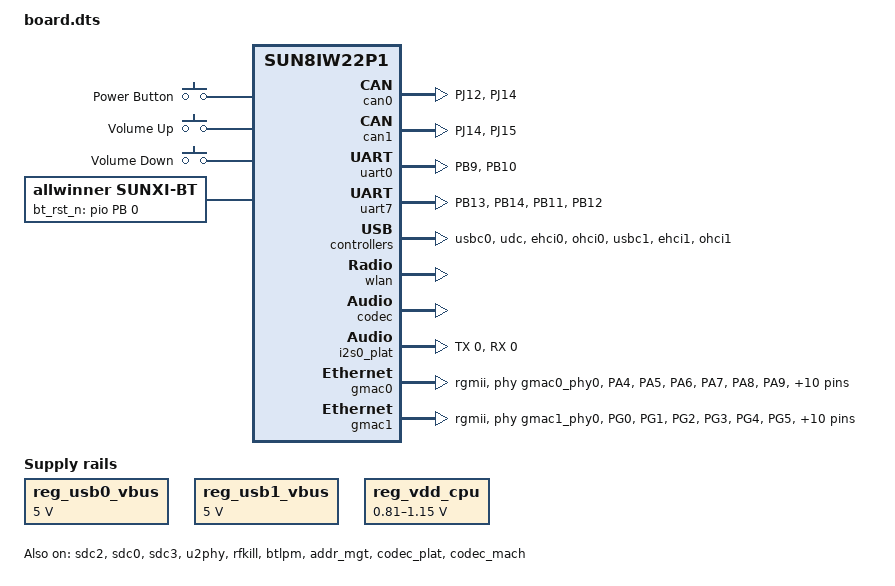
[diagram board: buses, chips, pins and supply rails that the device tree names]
// SPDX-License-Identifier: (GPL-2.0+ or MIT)

/dts-v1/;

#include "sun8iw22p1.dtsi"
#include <dt-bindings/input/input.h>

/{
	board = "t153", "t153-demo";
	compatible = "allwinner,t153", "arm,sun8iw22p1";
	aliases {
	};

	reg_usb0_vbus: usb0-vbus {
		compatible = "regulator-fixed";
		regulator-name = "usb0-vbus";
		regulator-min-microvolt = <5000000>;
		regulator-max-microvolt = <5000000>;
		regulator-enable-ramp-delay = <1000>;
		enable-active-high;
	};

	reg_usb1_vbus: usb1-vbus {
		compatible = "regulator-fixed";
		regulator-name = "usb1-vbus";
		regulator-min-microvolt = <5000000>;
		regulator-max-microvolt = <5000000>;
		regulator-enable-ramp-delay = <1000>;
		enable-active-high;
	};

	reg_vdd_cpu: reg_vdd_cpu {
		compatible = "sunxi-pwm-regulator";
		pwms = <&pwmcs0 4 5000 1>;
		regulator-name = "vdd_cpu";
		regulator-min-microvolt = <810000>;
		regulator-max-microvolt = <1150000>;
		regulator-settling-time-us = <4000>;
		regulator-always-on;
		regulator-boot-on;
		status = "okay";
	};

	reserved-memory {
		rv_sram_reserved: riscvsram0@40000 {
			reg = <0x0 0x00040000 0x0 0x0002BFFF>;
			no-map;
			sleep-data-loss;
		};

		e907_mem_fw: e907_mem_fw@44000000 {
			/* boot0 & uboot0 load elf addr */
			reg = <0x0 0x44000000 0x0 0x00200000>;
		};

		/*
			* The name should be "vdev%dbuffer".
			* Its size should be not less than
			*     RPMSG_BUF_SIZE * (num of buffers in a vring) * 2
			*   = 512 * (num of buffers in a vring) * 2
			*/
		rv_vdev0buffer: vdev0buffer@42100000 {
			compatible = "shared-dma-pool";
			reg = <0x0 0x42100000 0x0 0x40000>;
			no-map;
		};

		/*
			* The name should be "vdev%dvring%d".
			* The size of each should be not less than
			*     PAGE_ALIGN(vring_size(num, align))
			*   = PAGE_ALIGN(16 * num + 6 + 2 * num + (pads for align) + 6 + 8 * num)
			*
			* (Please refer to the vring layout in include/uapi/linux/virtio_ring.h)
			*/
		rv_vdev0vring0: vdev0vring0@42140000 {
			reg = <0x0 0x42140000 0x0 0x2000>;
			no-map;
		};
		rv_vdev0vring1: vdev0vring1@42142000 {
			reg = <0x0 0x42142000 0x0 0x2000>;
			no-map;
		};

		e907_rpbuf_reserved: e907_rpbuf@42144000 {
			compatible = "shared-dma-pool";
			no-map;
			reg = <0x0 0x42144000 0x0 0x80000>;
		};

		e907_share_irq_table: share_irq_table@421c4000 {
			reg = <0x0 0x421c4000 0x0 0x1000>;
			no-map;
		};

		e907_dram_reserved: e907_dram@421c5000 {
			reg = <0x0 0x421c5000 0x0 0x00300000>;
			no-map;
		};
	};

	rpbuf_controller0: rpbuf_controller@0 {
			compatible = "allwinner,rpbuf-controller";
			remoteproc = <&e907_rproc>;
			ctrl_id = <0>;
			memory-region = <&e907_rpbuf_reserved>;
			status = "okay";
	};

	can0 {
		compatible = "allwinner,sun8i-t153-can";
		reg = <0x0 0x0453C800 0x0 0x400>,
			<0x0 0x04538000 0x0 0x4400>,
			<0x0 0x04530000 0x0 0x1000>,
			<0x0 0x04534000 0x0 0x1000>;
		reg-names = "can", "message_ram", "can_top", "can_dma";
		interrupts = <GIC_SPI 36 IRQ_TYPE_LEVEL_HIGH>, <GIC_SPI 35 IRQ_TYPE_LEVEL_HIGH>, <GIC_SPI 37 IRQ_TYPE_LEVEL_HIGH>;
		interrupt-names = "int0", "int_top", "int1";
		clocks = <&ccu CLK_CAN0>, <&ccu CLK_BUS_CAN0>, <&ccu CLK_MBUS_CAN_GATE>;
		clock-names = "can_clk", "can_bus", "can_mbus";
		resets = <&ccu RST_BUS_CAN0>, <&ccu RST_BUS_CAN_SYS>;
		reset-names = "can_rst", "can_sys_rst";
		clock-frequency = <40000000>;
		allwinner,ram-cfg = <0x0 0 0 64 64 64 32 32>;
		pinctrl-0 = <&can0_pins_active>;
		pinctrl-1 = <&can0_pins_sleep>;
		pinctrl-names = "default", "sleep";
		status = "okay";
	};

	can1 {
		compatible = "allwinner,sun8i-t153-can";
		reg = <0x0 0x04541800 0x0 0x400>,
				<0x0 0x0453D000 0x0 0x4400>,
				<0x0 0x04531000 0x0 0x1000>,
				<0x0 0x04535000 0x0 0x1000>;
		reg-names = "can", "message_ram", "can_top", "can_dma";
		interrupts = <GIC_SPI 144 IRQ_TYPE_LEVEL_HIGH>, <GIC_SPI 146 IRQ_TYPE_LEVEL_HIGH>, <GIC_SPI 145 IRQ_TYPE_LEVEL_HIGH>;
		interrupt-names = "int0", "int_top", "int1";
		clocks = <&ccu CLK_CAN1>, <&ccu CLK_BUS_CAN1>, <&ccu CLK_MBUS_CAN_GATE>;
		clock-names = "can_clk", "can_bus", "can_mbus";
		resets = <&ccu RST_BUS_CAN1>, <&ccu RST_BUS_CAN_SYS>;
		reset-names = "can_rst", "can_sys_rst";
		clock-frequency = <40000000>;
		allwinner,ram-cfg = <0x0 0 0 64 64 64 32 32>;
		pinctrl-0 = <&can1_pins_active>;
		pinctrl-1 = <&can1_pins_sleep>;
		pinctrl-names = "default", "sleep";
		status = "okay";
	};

};

&pio {
           sdc3_pins_a: sdc3@0 {
                                pins = "PE0", "PE5";
                                function = "sdc3";
                                drive-strength = <40>;
                                bias-pull-up;
                        };

                        sdc3_pins_c: sdc3@2 {
                                pins = "PE6", "PE7", "PE8", "PE9";
                                function = "sdc3";
                                drive-strength = <30>;
                                bias-pull-up;
                        };
	uart0_pins_active: uart0_pins@0 {
		pins = "PB9", "PB10";
		function = "uart0";
	};

	uart0_pins_sleep: uart0_pins@1 {
		pins = "PB9", "PB10";
		function = "io_disabled";
	};

	uart1_pins_active: uart1_pins@0 {
		pins = "PG6", "PG7", "PG8", "PG9";
		function = "uart1";
		drive-strength = <10>;
		bias-pull-up;
	};

	uart1_pins_sleep: uart1_pins@1 {
		pins = "PG6", "PG7", "PG8", "PG9";
		function = "gpio_in";
	};

	uart2_pins_active: uart2_pins@0 {
		pins = "PD2", "PD3", "PD1", "PD0";
		function = "uart2";
	};

	uart2_pins_sleep: uart2_pins@1 {
		pins = "PD2", "PD3", "PD1", "PD0";
		function = "io_disabled";
	};

	uart3_pins_active: uart3_pins@0 {
		pins = "PD14", "PD15", "PD16", "PD17";
		function = "uart3";
	};

	uart3_pins_sleep: uart3_pins@1 {
		pins = "PD14", "PD15", "PD16", "PD17";
		function = "io_disabled";
	};

	uart4_pins_active: uart4_pins@0 {
		pins = "PD6", "PD7", "PD5", "PD4";
		function = "uart4";
	};

	uart4_pins_sleep: uart4_pins@1 {
		pins = "PD6", "PD7", "PD5", "PD4";
		function = "io_disabled";
	};

	uart5_pins_active: uart5_pins@0 {
		pins = "PC9", "PC10", "PC11", "PC8";
		function = "uart5";
	};

	uart5_pins_sleep: uart5_pins@1 {
		pins = "PC9", "PC10", "PC11", "PC8";
		function = "io_disabled";
	};

	uart6_pins_active: uart6_pins@0 {
		pins = "PA14", "PA15", "PE5", "PE6";
		function = "uart6";
	};

	uart6_pins_sleep: uart6_pins@1 {
		pins = "PA14", "PA15", "PE5", "PE6";
		function = "io_disabled";
	};

	uart7_pins_active: uart7_pins@0 {
		pins = "PB13", "PB14", "PB11", "PB12";
		function = "uart7";
                drive-strength = <10>;
                bias-pull-up;

	};

	uart7_pins_sleep: uart7_pins@1 {
		pins = "PB13", "PB14", "PB11", "PB12";
		function = "io_disabled";
	};

	uart8_pins_active: uart8_pins@0 {
		pins = "PD10", "PD11", "PD12", "PD13";
		function = "uart8";
	};

	uart8_pins_sleep: uart8_pins@1 {
		pins = "PD10", "PD11", "PD12", "PD13";
		function = "io_disabled";
	};

	uart9_pins_active: uart9_pins@0 {
		pins = "PD0", "PD1", "PD2", "PD3";
		function = "uart9";
	};

	uart9_pins_sleep: uart9_pins@1 {
		pins = "PD0", "PD1", "PD2", "PD3";
		function = "io_disabled";
	};

	can0_pins_active: can0_pins@0{
		pins = "PJ12", "PJ14";
		function = "can0";
		drive-strength = <20>;
	};

	can0_pins_sleep: can0_pins@1{
		pins = "PJ12", "PJ14";
		function = "io_disabled";
		bias-disable;
	};

	can1_pins_active: can1_pins@0{
		pins = "PJ14", "PJ15";
		function = "can1";
		drive-strength = <20>;
	};

	can1_pins_sleep: can1_pins@1{
		pins = "PJ14", "PJ15";
		function = "io_disabled";
		bias-disable;
	};

	spi0_pins_default: spi0@0 {
		pins = "PC2", "PC3"; /* mosi, miso */
		function = "spi0";
		drive-strength = <20>;
	};

	spi0_pins_cs: spi0@1 {
		pins = "PC1", "PC4", "PC5"; /* cs, wp, hold */
		function = "spi0";
		drive-strength = <20>;
		bias-pull-up;
	};

	spi0_pins_clk: spi0@2 {
		pins = "PC0"; /* clk */
		function = "spi0";
		drive-strength = <40>;
	};

	spi0_pins_sleep: spi0@3 {
		pins = "PC0", "PC1", "PC2", "PC3", "PC4", "PC5";
		function = "gpio_in";
		drive-strength = <10>;
	};
	twi2_pins_default: twi2@0 {
		pins = "PB2", "PB3";
		function = "twi2";
		drive-strength = <10>;
		bias-pull-up;
	};

	twi2_pins_sleep: twi2@1 {
		pins = "PB2", "PB3";
		function = "gpio_in";
	};

	twi4_pins_default: twi4@0 {
		pins = "PB13", "PB14";
		function = "twi4";
		drive-strength = <10>;
		bias-pull-up;
	};

	twi4_pins_sleep: twi4@1 {
		pins = "PB13", "PB14";
		function = "gpio_in";
	};

	pwmcs0_0_pins_active: pwmcs0_0@0 {
		pins = "PB8";
		function = "pwm0_0";
		drive-strength = <20>;
	};

	pwmcs0_0_pins_sleep: pwmcs0_0@1 {
		pins = "PB8";
		function = "gpio_in";
		bias-pull-down;
	};

	pwmcs0_4_pins_active: pwmcs0_4@0 {
		pins = "PB13";
		function = "pwm0_4";
		drive-strength = <20>;
	};

	pwmcs0_4_pins_sleep: pwmcs0_4@1 {
		pins = "PB13";
		function = "gpio_in";
		bias-pull-down;
	};

	gpadc0_pins_default: gpadc0@0 {
		pins = "PA4", "PA5", "PA6", "PA7", "PA8", "PA9", "PA10", "PA11", "PA12", "PA13";
		function = "gpadc0";
	};

	gpadc0_pins_sleep: gpadc0@1 {
		pins = "PA4", "PA5", "PA6", "PA7", "PA8", "PA9", "PA10", "PA11", "PA12", "PA13";
		function = "gpio_in";
	};

	gpadc1_pins_default: gpadc1@0 {
		pins = "PA14","PA15";
		function = "gpadc1";
	};

	gpadc1_pins_sleep: gpadc1@1 {
		pins = "PA14", "PA15";
		function = "gpio_in";
	};

	irrx0_pins_default: irrx0@0 {
		pins = "PJ12";
		function = "ir0";
	};

	irrx0_pins_sleep: irrx0@1 {
		pins = "PJ12";
		function = "gpio_in";
	};

	irrx1_pins_default: irrx1@0 {
		pins = "PJ13";
		function = "ir1";
	};

	irrx1_pins_sleep: irrx1@1 {
		pins = "PJ13";
		function = "gpio_in";
	};

	irrx2_pins_default: irrx2@0 {
		pins = "PJ14";
		function = "ir2";
	};

	irrx2_pins_sleep: irrx2@1 {
		pins = "PJ14";
		function = "gpio_in";
	};

	irrx3_pins_default: irrx3@0 {
		pins = "PJ15";
		function = "ir3";
	};

	irrx3_pins_sleep: irrx3@1 {
		pins = "PJ15";
		function = "gpio_in";
	};

	irtx0_pins_default: irtx@0 {
		pins = "PJ9";
		function = "ir";
	};

	irtx0_pins_sleep: irtx@1 {
		pins = "PJ9";
		function = "gpio_in";
	};

	dmic_pins_a: dmic@0 {
		/* DMIC_PIN: CLK, DATA0, DATA1, DATA2 */
		pins = "PF2", "PF3", "PF4", "PF5";
		function = "dmic";
		drive-strength = <10>;
		bias-disable;
	};

	dmic_pins_b: dmic@1 {
		pins = "PF2", "PF3", "PF4", "PF5";
		function = "io_disabled";
		drive-strength = <10>;
		bias-disable;
	};

	ledc_pins_default: ledc@0 {
		pins = "PJ8";
		function = "ledc";
		drive-strength = <20>;
	};

	ledc_pins_sleep: ledc@1 {
		pins = "PJ8";
		function = "gpio_in";
	};

        gmac0_pins_default: gmac0@0 {
                pins = "PA4","PA5","PA6","PA7","PA8","PA9","PA10","PA11","PA12","PA13",
				"PA14","PA15","PA16","PA17","PA18","PA19";
                function = "rgmii0";
                drive-strength = <40>;
                bias-pull-up;
        };

        gmac0_pins_sleep: gmac0@1 {
                pins = "PA4","PA5","PA6","PA7","PA8","PA9","PA10","PA11","PA12","PA13",
				"PA14","PA15","PA16","PA17","PA18","PA19";
                function = "io_disabled";
                bias-disable;
        };
	gmac1_pins_default: gmac1@0 {
		pins = "PG0", "PG1", "PG2", "PG3", "PG4", "PG5", "PG6", "PG7",
			"PG8", "PG9", "PG10", "PG11", "PG12", "PG13", "PG14", "PG15";
		function = "rgmii1";
		drive-strength = <40>;
		bias-pull-up;
	};

	gmac1_pins_sleep: gmac1@1 {
		pins = "PG0", "PG1", "PG2", "PG3", "PG4", "PG5", "PG6", "PG7",
			"PG8", "PG9", "PG10", "PG11", "PG12", "PG13", "PG14", "PG15";
		function = "io_disabled";
		bias-disable;
	};

	rtp_pins_default: rtp@0 {
		pins = "PA0", "PA1", "PA2", "PA3";
		function = "tp";
	};

	rtp_pins_sleep: rtp@1 {
		pins = "PA0", "PA1", "PA2", "PA3";
		function = "gpio_in";
	};

	spi2_pins_default: spi2@0 {
		pins = "PE2", "PE3", "PE4";
		function = "spi2";
		drive-strength = <10>;
	};

	spi2_pins_cs: spi2@1 {
		pins = "PE7";
		function = "spi2";
		drive-strength = <10>;
		bias-pull-up;
	};

	spi2_pins_sleep: spi2@2 {
		pins = "PE2", "PE3", "PE4", "PE7";
		function = "io_disabled";
		bias-disable;
	};

};
&uart0 {
	pinctrl-names = "default", "sleep";
	pinctrl-0 = <&uart0_pins_active>;
	pinctrl-1 = <&uart0_pins_sleep>;
	status = "okay";
};

&uart1 {
	pinctrl-names = "default", "sleep";
	pinctrl-0 = <&uart1_pins_active>;
	pinctrl-1 = <&uart1_pins_sleep>;
	status = "disabled";
};

&uart2 {
	pinctrl-names = "default", "sleep";
	pinctrl-0 = <&uart2_pins_active>;
	pinctrl-1 = <&uart2_pins_sleep>;
	status = "disabled";
};

&uart3 {
	pinctrl-names = "default", "sleep";
	pinctrl-0 = <&uart3_pins_active>;
	pinctrl-1 = <&uart3_pins_sleep>;
	status = "disabled";
};

&uart4 {
	pinctrl-names = "default", "sleep";
	pinctrl-0 = <&uart4_pins_active>;
	pinctrl-1 = <&uart4_pins_sleep>;
	status = "disabled";
};

&uart5 {
	pinctrl-names = "default", "sleep";
	pinctrl-0 = <&uart5_pins_active>;
	pinctrl-1 = <&uart5_pins_sleep>;
	status = "disabled";
};

&uart6 {
	pinctrl-names = "default", "sleep";
	pinctrl-0 = <&uart6_pins_active>;
	pinctrl-1 = <&uart6_pins_sleep>;
	status = "disabled";
};

&uart7 {
	pinctrl-names = "default", "sleep";
	pinctrl-0 = <&uart7_pins_active>;
	pinctrl-1 = <&uart7_pins_sleep>;
	uart-has-rtscts;
	status = "okay";
};

&uart8 {
	pinctrl-names = "default", "sleep";
	pinctrl-0 = <&uart8_pins_active>;
	pinctrl-1 = <&uart8_pins_sleep>;
	status = "disabled";
};

&uart9 {
	pinctrl-names = "default", "sleep";
	pinctrl-0 = <&uart9_pins_active>;
	pinctrl-1 = <&uart9_pins_sleep>;
	status = "disabled";
};

&soc {
	e907_rproc: e907_rproc@1a00000 {
		mboxes = <&msgbox 0>, <&msgbox 2>;
		mbox-names = "arm-kick", "arm-standby";
		memory-region = <&rv_vdev0buffer>, <&rv_vdev0vring0>, <&rv_vdev0vring1>, <&e907_dram_reserved>;
		fw-region = <&e907_mem_fw>;
		fw-partitions = "riscv0", "riscv0-r";
		fw-partition-sectors = <2048>;
		memory-mappings =
			/* < DA      len        PA >	*/
			/* SRAM A2 */
			< 0x40000    0x2BFFF    0x40000 >,
			/* SHARED SRAM */
			< 0x1000000  0x7ffff    0x1000000 >,
			/* DRAM SPACE1 */
			< 0x40000000 0x3f000000 0x40000000>,
			/* DRAM SPACE2 */
			< 0x80000000 0x3f000000 0x80000000>,
			/* DRAM SPACE3 */
			< 0xC0000000 0x3f000000 0xC0000000>;
		standby-ctrl-en = <0x1>;
		standby-record-reg = <0x07090114>;
		share-irq = "e907";
		//auto-boot;
		status = "okay";
		rproc_wdt: rproc_wdt@0 {
			timeout_ms = <6000>;
			try_times = <3>;
			reset_type = <0x2>;
			status="okay";
		};
	};

	gpio-keys {
		compatible = "gpio-keys";
		status = "okay";

		power {
			label = "Power Button";
			linux,code = <KEY_POWER>;
			debounce-interval = <20>;
			//gpios = <&rtc_pio PW 1 GPIO_ACTIVE_HIGH>;
		};

		volume-up {
			label = "Volume Up";
			linux,code = <KEY_VOLUMEUP>;
			debounce-interval = <20>;
			//gpios = <&rtc_pio PW 2 GPIO_ACTIVE_HIGH>;
		};

		volume-down {
			label = "Volume Down";
			linux,code = <KEY_VOLUMEDOWN>;
			debounce-interval = <20>;
			//gpios = <&rtc_pio PW 3 GPIO_ACTIVE_HIGH>;
		};
	};

	auto_print@54321 {
		reg = <0x0 0x54321 0x0 0x0>;
		device_type = "auto_print";
		status = "okay";
	};

	mailbox_test: mailbox_test@0 {
		compatible = "core0-mailbox-test";
		mboxes = <&msgbox_core0 7>;
		mbox-names = "tx|rx0";
		status = "okay";
	};
};

&spi0 {
	pinctrl-0 = <&spi0_pins_default &spi0_pins_cs &spi0_pins_clk>;
	pinctrl-1 = <&spi0_pins_sleep>;
	pinctrl-names = "default", "sleep";
	sunxi,spi-bus-mode = <SUNXI_SPI_BUS_NAND>;
	sunxi,spi-cs-mode = <SUNXI_SPI_CS_SOFT>;
	status = "disabled";

	spi-nand@0 {
			compatible = "spi-nand";
			spi-max-frequency=<100000000>;
			reg = <0x0>;
			spi-rx-bus-width=<0x04>;
			spi-tx-bus-width=<0x04>;
			status="disabled";
	};
};

&sdc2 {
	non-removable;
	bus-width = <8>;
	mmc-ddr-1_8v;
	mmc-hs200-1_8v;
	mmc-hs400-1_8v;
	no-sdio;
	no-sd;
	ctl-spec-caps = <0x328>;
	cap-mmc-highspeed;
	sunxi-power-save-mode;
	sunxi-dis-signal-vol-sw;
	mmc-bootpart-noacc;
	/*cap-hsq;*/
	cqe-on;
	ctl-cmdq-md = <0x2>;
	/* b2c-ecc-on; */
	/* cqe-ecc-on; */
	max-frequency = <150000000>;
	/*vmmc-supply = <&reg_cldo3>;*/
	/*emmc io vol 3.3v*/
	/*vqmmc-supply = <&reg_aldo1>;*/
	/*emmc io vol 1.8v*/
	/*vqmmc-supply = <&reg_cldo1>;*/
	status = "okay";
};

&sdc0 {
	bus-width = <4>;
	cd-gpios = <&pio PF 6 (GPIO_ACTIVE_LOW | GPIO_PULL_UP)>;
	/*non-removable;*/
	/*broken-cd;*/
	/*cd-inverted*/
	/*data3-detect;*/
	/*card-pwr-gpios = <&pio PH 14 1 1 2 0xffffffff>;*/
	cd-used-24M;
	cd-set-debounce = <0x1>;
	cap-sd-highspeed;
	sd-uhs-sdr50;
	sd-uhs-ddr50;
	sd-uhs-sdr104;
	no-sdio;
	no-mmc;
	/* b2c-ecc-on; */
	sunxi-power-save-mode;
	/*sunxi-dis-signal-vol-sw;*/
	sunxi-signal-vol-sw-without-pmu;
	max-frequency = <150000000>;
	ctl-spec-caps = <0x428>;
	/*vmmc-supply = <&reg_cldo3>;*/
	/*vqmmc33sw-supply = <&reg_cldo3>;*/
	/*vdmmc33sw-supply = <&reg_cldo3>;*/
	/*vqmmc18sw-supply = <&reg_aldo4>;*/
	/*vdmmc18sw-supply = <&reg_aldo4>;*/
	status = "okay";
};
&sdc3 {
        bus-width = <4>;
        no-mmc;
        no-sd;
        cap-sd-highspeed;
        /*sd-uhs-sdr12
        sd-uhs-sdr25;
        sd-uhs-sdr50;
        sd-uhs-ddr50;
        sd-uhs-sdr104;*/
        /*sunxi-power-save-mode;*/
        sunxi-dis-signal-vol-sw;
        cap-sdio-irq;
        keep-power-in-suspend;
        ignore-pm-notify;
        max-frequency = <50000000>;
        ctl-spec-caps = <0x428>;
        status = "okay";
};
#if 0
&sdc3 {
        pinctrl-names = "default";
        pinctrl-0 = <&sdc3_pins_a &sdc3_pins_c>;
	bus-width = <1>;
	no-mmc;
	no-sd;
	cap-sd-highspeed;
	/*sd-uhs-sdr12;*/
	/*sd-uhs-sdr25;*/
	/*sd-uhs-sdr50;*/
	/*sd-uhs-ddr50;*/
	/*sd-uhs-sdr104;*/
	sunxi-power-save-mode;
	sunxi-dis-signal-vol-sw;
	/*cap-sdio-irq;*/
	/*keep-power-in-suspend;*/
	ignore-pm-notify;
	max-frequency = <25000000>;
	/*ctl-spec-caps = <0x428>;*/
	status = "okay";
};
#endif

/*
 *usb_port_type: usb mode. 0-device, 1-host, 2-otg.
 *usb_detect_type: usb hotplug detect mode. 0-none, 1-vbus/id detect, 2-id/dpdm detect.
 *usb_detect_mode: 0-thread scan, 1-id gpio interrupt.
 *usb_id_gpio: gpio for id detect.
 *usb_det_vbus_gpio: gpio for id detect. gpio or "axp_ctrl";
 *usb_wakeup_suspend:0-SUPER_STANDBY, 1-USB_STANDBY.
 */
&usbc0 {
        device_type = "usbc0";
        usb_port_type = <0x0>;
        usb_detect_type = <0x0>;
        usb_detect_mode = <0>;
        usb_id_gpio = <>;
        enable-active-high;
        usb_det_vbus_gpio = <>;
        usb_wakeup_suspend = <0>;
        usb_serial_unique = <0>;
        usb_serial_number = "20080411";
        rndis_wceis = <1>;
        status = "okay";
};

&u2phy {
	status = "okay";
};

&udc {
	status = "okay";
};

&ehci0 {
	drvvbus-supply = <&reg_usb0_vbus>;
	status = "okay";
};

&ohci0 {
	drvvbus-supply = <&reg_usb0_vbus>;
	status = "okay";
};

&usbc1 {
	device_type = "usbc1";
	usb_regulator_io = "nocare";
	status = "okay";
};

&ehci1 {
	drvvbus-supply = <&reg_usb1_vbus>;
	status = "okay";
};

&ohci1 {
	drvvbus-supply = <&reg_usb1_vbus>;
	status = "okay";
};

&twi2 {
	clock-frequency = <400000>;
	pinctrl-0 = <&twi2_pins_default>;
	pinctrl-1 = <&twi2_pins_sleep>;
	pinctrl-names = "default", "sleep";
	/* For stability and backwards compatibility, we recommend setting 'twi_drv_used' to 1 */
	twi_drv_used = <1>;
	/* twi-supply = <&reg_cldo3>; */
	status = "disabled";

	pcf8563: rtc@51 {
		compatible = "nxp,pcf8563";
		reg = <0x51>;
	};
};

&twi4 {
	clock-frequency = <400000>;
	pinctrl-0 = <&twi4_pins_default>;
	pinctrl-1 = <&twi4_pins_sleep>;
	pinctrl-names = "default", "sleep";
	/* For stability and backwards compatibility, we recommend setting 'twi_drv_used' to 1 */
	twi_drv_used = <1>;
	no_suspend = <1>;
	/* twi-supply = <&reg_cldo3>; */
	status = "disabled";
};

&pwmcs0_0 {
	pinctrl-names = "active", "sleep";
	pinctrl-0 = <&pwmcs0_0_pins_active>;
	pinctrl-1 = <&pwmcs0_0_pins_sleep>;
	status = "disabled";
};

&pwmcs0_4 {
	pinctrl-names = "active", "sleep";
	pinctrl-0 = <&pwmcs0_4_pins_active>;
	pinctrl-1 = <&pwmcs0_4_pins_sleep>;
	status = "disabled";
};

&cpu0 {
	cpu-supply = <&reg_vdd_cpu>;
};

&gpadc0 {
	pinctrl-names = "default", "sleep";
	pinctrl-0 = <&gpadc0_pins_default>;
	pinctrl-1 = <&gpadc0_pins_sleep>;
	channel_num = <10>;
	channel_select = <3>;
	channel_data_select = <0>;
	channel_compare_select = <0>;
	channel_cld_select = <3>;
	channel_chd_select = <0>;
	channel0_compare_lowdata = <1700000>;
	channel0_compare_higdata = <1200000>;
	channel1_compare_lowdata = <460000>;
	channel1_compare_higdata = <1200000>;
	status = "disabled";
};

&gpadc1 {
	channel_num = <10>;
	pinctrl-names = "default", "sleep";
	pinctrl-0 = <&gpadc1_pins_default>;
	pinctrl-1 = <&gpadc1_pins_sleep>;
	channel_select = <0x2>;
	channel_data_select = <0>;
	channel_compare_select = <0x2>;
	channel_cld_select = <0x2>;
	channel_chd_select = <0>;
	channel0_compare_lowdata = <1700000>;
	channel0_compare_higdata = <1200000>;
	channel1_compare_lowdata = <900000>;
	channel1_compare_higdata = <0>;
	status = "disabled";
	keyadc1 {
		key_cnt = <5>;
		key0_vol = <210>;
		key0_val = <115>;
		key1_vol = <410>;
		key1_val = <114>;
		key2_vol = <590>;
		key2_val = <139>;
		key3_vol = <750>;
		key3_val = <28>;
		key4_vol = <880>;
		key4_val = <102>;
	};
};

&gpadc2 {
	channel_num = <4>;
	only_used_for_gpadc;
	channel_select = <3>;
	channel_data_select = <0>;
	channel_compare_select = <0>;
	channel_cld_select = <3>;
	channel_chd_select = <0>;
	channel0_compare_lowdata = <1700000>;
	channel0_compare_higdata = <1200000>;
	channel1_compare_lowdata = <460000>;
	channel1_compare_higdata = <1200000>;
	status = "disabled";
};

&gpadc3 {
	channel_num = <2>;
	channel_select = <3>;
	channel_data_select = <0>;
	channel_compare_select = <0>;
	channel_cld_select = <3>;
	channel_chd_select = <0>;
	channel0_compare_lowdata = <1700000>;
	channel0_compare_higdata = <1200000>;
	channel1_compare_lowdata = <460000>;
	channel1_compare_higdata = <1200000>;
	status = "disabled";
};

&rfkill {
	compatible = "allwinner,sunxi-rfkill";
	chip_en;
	power_en;
	pinctrl-0;
	pinctrl-names;
	status = "okay";

	/* wlan session */
	wlan {
		compatible    = "allwinner,sunxi-wlan";
		wlan_busnum   = <0x3>;
		wlan_regon    = <&pio PB 5 GPIO_ACTIVE_HIGH>;
		wlan_hostwake = <&pio PB 1 GPIO_ACTIVE_HIGH>;
		wakeup-source;
		regulator-boot-on;
		regulator-always-on;
	};

	/* bt session */
	bt {
		compatible    = "allwinner,sunxi-bt";
		bt_rst_n      = <&pio PB 0 GPIO_ACTIVE_HIGH>;
		status        = "okay";
	};

};

&btlpm {
	compatible  = "allwinner,sunxi-btlpm";
	uart_index  = <0x7>;
	bt_wake     = <&pio PB 6 GPIO_ACTIVE_HIGH>;
	bt_hostwake = <&pio PB 4 GPIO_ACTIVE_HIGH>;
	wakeup-source; 
	status      = "okay";
};

&addr_mgt {
	compatible = "allwinner,sunxi-addr_mgt";
	type_addr_wifi = <0x0>;
	type_addr_bt   = <0x0>;
	type_addr_eth  = <0x0>;
	status = "okay";
};

&irrx0 {
	pinctrl-names = "default", "sleep";
	pinctrl-0 = <&irrx0_pins_default>;
	pinctrl-1 = <&irrx0_pins_sleep>;
	status = "disabled";
};

&irrx1 {
	pinctrl-names = "default", "sleep";
	pinctrl-0 = <&irrx1_pins_default>;
	pinctrl-1 = <&irrx1_pins_sleep>;
	status = "disabled";
};

&irrx2 {
	pinctrl-names = "default", "sleep";
	pinctrl-0 = <&irrx2_pins_default>;
	pinctrl-1 = <&irrx2_pins_sleep>;
	status = "disabled";
};

&irrx3 {
	pinctrl-names = "default", "sleep";
	pinctrl-0 = <&irrx3_pins_default>;
	pinctrl-1 = <&irrx3_pins_sleep>;
	status = "disabled";
};

&irtx0 {
	pinctrl-names = "default", "sleep";
	pinctrl-0 = <&irtx0_pins_default>;
	pinctrl-1 = <&irtx0_pins_sleep>;
	status = "disabled";
};

&ledc  {
	pinctrl-names = "default", "sleep";
	pinctrl-0 = <&ledc_pins_default>;
	pinctrl-1 = <&ledc_pins_sleep>;
	led_count = <32>;
	output_mode = "GRB";
	reset_ns = <84>;
	t1h_ns = <800>;
	t1l_ns = <320>;
	t0h_ns = <300>;
	t0l_ns = <800>;
	wait_time0_ns = <84>;
	wait_time1_ns = <84>;
	wait_data_time_ns = <600000>;
	status = "disabled";
};

/* audio dirver module -> audio codec */
&codec {
	tx-hub-en;

	dac-vol		= <63>;		/* default value:63 range:0->63 */
	dacl-vol	= <160>;	/* default value:160 range:0->255 */
	lineout-gain	= <31>;		/* default value:31 range:0->31 */

	pa-pin-max	= <1>;
	pa-pin-0	= <>;
	pa-pin-level-0	= <1>;
	pa-pin-msleep-0	= <0>;

	status = "okay";
};

&codec_plat {
	status = "okay";
};

&codec_mach {
	status = "okay";
	soundcard-mach,cpu {
		sound-dai = <&codec_plat>;
	};
	soundcard-mach,codec {
		sound-dai = <&codec>;
	};
};

/* audio dirver module -> owa */
&owa_plat {
	/* pinctrl-used; */
	/* pinctrl-names	= "default","sleep"; */
	/* pinctrl-0	= <&owa_pins_a>; */
	/* pinctrl-1	= <&owa_pins_b>; */
	tx-hub-en;

	status		= "disabled";
};

&owa_mach {
	status		= "disabled";
	soundcard-mach,cpu {
		sound-dai = <&owa_plat>;
	};
	soundcard-mach,codec {
	};
};

/* audio dirver module -> DMIC */
&dmic_plat {
	rx-chmap	= <0x76543210>;
	data-vol	= <0xB0>;
	rxdelaytime	= <0>;
	pinctrl-used;
	pinctrl-names	= "default","sleep";
	pinctrl-0	= <&dmic_pins_a>;
	pinctrl-1	= <&dmic_pins_b>;
	rx-sync-en;
	status		= "disabled";
};

&dmic_mach {
	status		= "disabled";
	soundcard-mach,cpu {
		sound-dai = <&dmic_plat>;
	};
	soundcard-mach,codec {
	};
};

/* audio dirver module -> I2S/PCM */
&i2s0_plat {
	tdm-num		= <0>;
	tx-pin		= <0>;
	rx-pin		= <0>;
	/* pinctrl-used; */
	/* pinctrl-names	= "default","sleep"; */
	/*pinctrl-0	= <&i2s0_pins_a &i2s0_pins_c>; */
	/* pinctrl-1	= <&i2s0_pins_b &i2s0_pins_d>; */
	tx-hub-en;
	rx-sync-en;
	status		= "okay";
};

&i2s0_mach {
	soundcard-mach,format		= "i2s";
	soundcard-mach,frame-master	= <&i2s0_cpu>;
	soundcard-mach,bitclock-master	= <&i2s0_cpu>;
	/* soundcard-mach,frame-inversion; */
	/* soundcard-mach,bitclock-inversion; */
	soundcard-mach,slot-num		= <2>;
	soundcard-mach,slot-width	= <32>;
	soundcard-mach,capture-only;
	status		= "disabled";
	i2s0_cpu: soundcard-mach,cpu {
		sound-dai = <&i2s0_plat>;
		/* note: pll freq = 24.576M or 22.5792M * pll-fs */
		soundcard-mach,pll-fs	= <1>;
		/* note:
		 * mclk freq = mclk-fs * 12.288M or 11.2896M	(when mclk-fp ture)
		 * mclk freq = mclk-fs * pcm rate		(when mclk-fp false)
		 */
		soundcard-mach,mclk-fs	= <1>;
		soundcard-mach,mclk-fp;
	};
	i2s0_codec: soundcard-mach,codec {
		soundcard-mach,pll-fs   = <1>;
	};
};

&i2s1_plat {
	tdm-num		= <1>;
	tx-pin		= <0>;
	rx-pin		= <0>;
	/* pinctrl-used; */
	/* pinctrl-names= "default","sleep"; */
	/* pinctrl-0	= <&i2s1_pins_a &i2s1_pins_b &i2s1_pins_c &i2s1_pins_d>; */
	/* pinctrl-1	= <&i2s1_pins_e>; */
	tx-hub-en;
	rx-sync-en;
	status		= "disabled";
};

&i2s1_mach {
	soundcard-mach,format		= "dsp_a";
	soundcard-mach,frame-master	= <&i2s1_cpu>;
	soundcard-mach,bitclock-master	= <&i2s1_cpu>;
	/* soundcard-mach,frame-inversion; */
	soundcard-mach,bitclock-inversion;
	soundcard-mach,slot-num		= <2>;
	soundcard-mach,slot-width	= <16>;
	status		= "disabled";
	i2s1_cpu: soundcard-mach,cpu {
		sound-dai = <&i2s1_plat>;
		soundcard-mach,pll-fs	= <1>;
		soundcard-mach,mclk-fs	= <0>;
	};
	i2s1_codec: soundcard-mach,codec {
	};
};

&i2s2_plat {
	tdm-num		= <2>;
	tx-pin		= <0 1 2 3>;

	rx-pin		= <0>;
	/* pinctrl-used; */
	/* pinctrl-names= "default","sleep"; */
	/* pinctrl-0	= <&i2s2_pins_a>; */
	/* pinctrl-1	= <&i2s2_pins_b>; */
	tx-hub-en;
	rx-sync-en;
	/* edp not need dai-type */
	status		= "disabled";
};

&i2s2_mach {
	soundcard-mach,format		= "i2s";
	soundcard-mach,frame-master	= <&i2s2_cpu>;
	soundcard-mach,bitclock-master	= <&i2s2_cpu>;
	/* soundcard-mach,frame-inversion; */
	/* soundcard-mach,bitclock-inversion; */
	soundcard-mach,slot-num		= <2>;
	soundcard-mach,slot-width	= <32>;
	status		= "disabled";
	i2s2_cpu: soundcard-mach,cpu {
		sound-dai = <&i2s2_plat>;
		soundcard-mach,pll-fs	= <1>;
		/* edp mclk: 512fs */
		soundcard-mach,mclk-fs	= <0>;
	};
	i2s2_codec: soundcard-mach,codec {

	};
};

&spi2 {
	pinctrl-0 = <&spi2_pins_default &spi2_pins_cs>;
	pinctrl-1 = <&spi2_pins_sleep>;
	pinctrl-names = "default", "sleep";
	sunxi,spi-bus-mode = <SUNXI_SPI_BUS_MASTER>;
	sunxi,spi-cs-mode = <SUNXI_SPI_CS_AUTO>;
	// ready-gpio = <&pio PC 15 GPIO_ACTIVE_LOW>;
	status = "disabled";

};
#if 0
&gmac0_phy0 {
	compatible = "ethernet-phy-id001c.c916";
	reset-gpios = <&pio PJ 2 GPIO_ACTIVE_HIGH>;
	/* For RTL8211F: PHY datasheet rst time */
	reset-assert-us = <10000>;
	reset-deassert-us = <30000>;
};

&gmac0 {
	phy-mode = "rgmii";
	pinctrl-names = "default", "sleep";
	pinctrl-0 = <&gmac0_pins_default>;
	pinctrl-1 = <&gmac0_pins_sleep>;
	phy-handle = <&gmac0_phy0>;
	//aw,soc-phy-clk-en;
	tx-delay = <31>;
	rx-delay = <31>;
	// dwmac-supply = <&reg_dcdc1>;
	// phy-supply = <&reg_dcdc1>;
	status = "okay";
};

&gmac1_phy0 {
	compatible = "ethernet-phy-id001c.c916";
	reset-gpios = <&pio PJ 3 GPIO_ACTIVE_HIGH>;
	/* For RTL8211F: PHY datasheet rst time */
	reset-assert-us = <10000>;
	reset-deassert-us = <30000>;
};

&gmac1 {
	phy-mode = "rgmii";
	pinctrl-names = "default", "sleep";
	pinctrl-0 = <&gmac1_pins_default>;
	pinctrl-1 = <&gmac1_pins_sleep>;
	phy-handle = <&gmac1_phy0>;
	//aw,soc-phy-clk-en;
	tx-delay = <31>;
	rx-delay = <31>;
	// dwmac-supply = <&reg_dcdc1>;
	// phy-supply = <&reg_dcdc1>;
	status = "okay";
};

&mdio0 {
        gmac0_phy0: ethernet-phy@0 {
                compatible = "ethernet-phy-id001c.c916";
                reg = <0x1>;
                max-speed = <1000>;  /* Max speed capability */
                reset-gpios = <&pio PJ 2 GPIO_ACTIVE_LOW>;
                /* PHY datasheet rst time */
                reset-assert-us = <10000>;
                reset-deassert-us = <30000>;
        };
};

&mdio1 {
	gmac1_phy0: ethernet-phy@1 {
                compatible = "ethernet-phy-id001c.c916";
                reg = <0x1>;
                max-speed = <1000>;  /* Max speed capability */
                reset-gpios = <&pio PJ 3 GPIO_ACTIVE_LOW>;
                /* PHY datasheet rst time */
                reset-assert-us = <10000>;
                reset-deassert-us = <100000>;
        };
};

&gmac0 {
        phy-mode = "rgmii";
        pinctrl-names = "default", "sleep";
        pinctrl-0 = <&gmac0_pins_default>;
        pinctrl-1 = <&gmac0_pins_sleep>;
        phy-handle = <&gmac0_phy0>;
        //aw,soc-phy-clk-en;
        // phy-supply = <&reg_dcdc1>;
        tx-delay = <4>;
	rx-delay = <6>;
        status = "okay";
};


&gmac1 {
        phy-mode = "rgmii";
        pinctrl-names = "default", "sleep";
        pinctrl-0 = <&gmac1_pins_default>;
        pinctrl-1 = <&gmac1_pins_sleep>;
        phy-handle = <&gmac1_phy0>;
        //aw,soc-phy-clk-en;
        tx-delay = <4>;
        rx-delay = <6>;
        // dwmac-supply = <&reg_dcdc1>;
        // phy-supply = <&reg_dcdc1>;
        status = "okay";
};
#endif
&gmac0_phy0 {
        compatible = "ethernet-phy-id001c.c916";
        reg = <0x1>;         /* 如果你的 PHY 硬件地址是 1，这里保持 0x1 */
        max-speed = <1000>;  /* Max speed capability */
        reset-gpios = <&pio PJ 2 GPIO_ACTIVE_LOW>;
        reset-assert-us = <10000>;
        reset-deassert-us = <30000>;
};

&gmac1_phy0 {
        compatible = "ethernet-phy-id001c.c916";
        reg = <0x1>;         /* 如果 GMAC1 的 PHY 地址也是 1，因为在不同的 mdio 总线上，所以没问题 */
        max-speed = <1000>;  
        reset-gpios = <&pio PJ 3 GPIO_ACTIVE_LOW>;
        reset-assert-us = <10000>;
        reset-deassert-us = <100000>;
};

/* 2. GMAC 节点的配置保持你的不变 */
&gmac0 {
        phy-mode = "rgmii";
        pinctrl-names = "default", "sleep";
        pinctrl-0 = <&gmac0_pins_default>;
        pinctrl-1 = <&gmac0_pins_sleep>;
        phy-handle = <&gmac0_phy0>;
        //aw,soc-phy-clk-en;
        // phy-supply = <&reg_dcdc1>;
        tx-delay = <4>;
        rx-delay = <6>;
        status = "okay";
};

&gmac1 {
        phy-mode = "rgmii";
        pinctrl-names = "default", "sleep";
        pinctrl-0 = <&gmac1_pins_default>;
        pinctrl-1 = <&gmac1_pins_sleep>;
        phy-handle = <&gmac1_phy0>;
        //aw,soc-phy-clk-en;
        tx-delay = <0>;
        rx-delay = <0>;
        // dwmac-supply = <&reg_dcdc1>;
        // phy-supply = <&reg_dcdc1>;
        status = "okay";
};

&dma {
	reset-control;
};

&dma1 {
       status="disabled";
};

&rtp {
	pinctrl-names = "default", "sleep";
	pinctrl-0 = <&rtp_pins_default>;
	pinctrl-1 = <&rtp_pins_sleep>;
	allwinner,tp-sensitive-adjust = <0xa>;
	allwinner,filter-type = <0x3>;
	status = "disabled";
};


